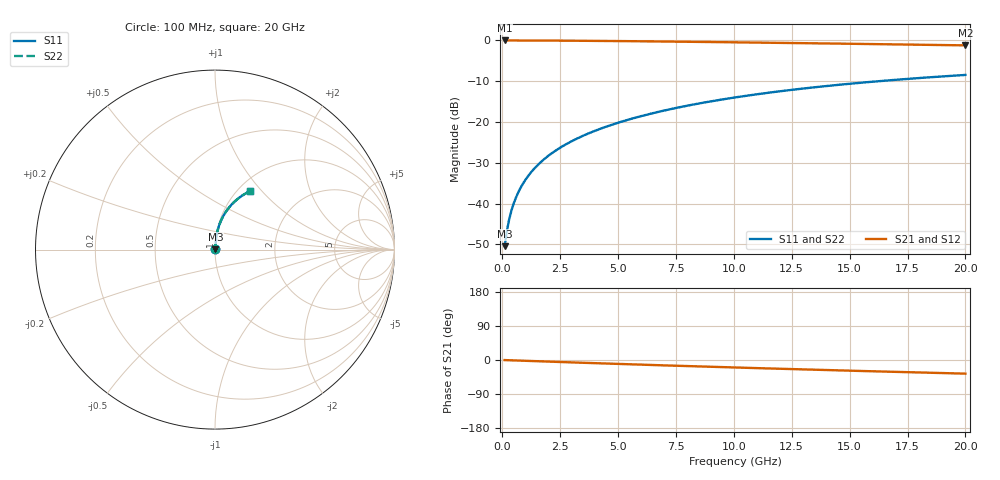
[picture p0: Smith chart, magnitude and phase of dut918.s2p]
! Touchstone file exported from HFSS 2024.1.0
!  File:  C:/UserFiles/LocalFiles/RDL_TSV_Batchsim/temp_RDL_top_918_1779936410.aedt
!  Generated:  10:49:52 AM May 28, 2026
!  Design:  RDL_top
!  Project:  temp_RDL_top_918_1779936410
!  Setup:  Setup1
!  Solution:  Sweep
! Variables:
!  dtsv = 10.80580581um
!  hbump = 3um
!  htsv = 77.58um
!  ldown = 100um
!  lrdl = 464.23um
!  p = 40
!  p1 = 55.85um
!  rhole = 1um
!  t = 450um
!  tdown = 3.915915916um
!  trdl = 4.18um
!  wdown = 15.38538539um
!  wrdl = 19.05um
# GHz S MA R 50.000000
! Terminal data exported
! Port[1] = Box2_T1
! Port[2] = Box2_T2
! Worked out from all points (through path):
!   200 points, 100 MHz to 20 GHz, reference 50 ohm
!   highest |S21| = -0.02 dB at 100 MHz (marker M1); lowest = -1.2 dB at 20 GHz (marker M2)
!   group delay of S21, straight-line fit = 4.97 ps
!   lowest |S11| = -50.4 dB at 100 MHz (marker M3), VSWR 1.01, Z = 50.2 + j0.206 ohm
!   |S11| at or under -10 dB: start of sweep to 16.25 GHz
!   |S22| runs from -50.4 to -8.5 dB; largest |S21 - S12| = 2.5e-15
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0.1  0.003016 42.8  0.9978 -0.2  0.9978 -0.2  0.003016 42.8
! Gamma 0 0 0 0
! Port Impedance 50 0 50 0
0.2  0.004666 60.4  0.9977 -0.4  0.9977 -0.4  0.004666 60.4
0.3  0.006484 68.2  0.9975 -0.7  0.9975 -0.7  0.006484 68.2
0.4  0.008336 72.5  0.9974 -0.9  0.9974 -0.9  0.008336 72.5
0.5  0.0102 75.2  0.9973 -1.1  0.9973 -1.1  0.0102 75.2
0.6  0.01207 77.2  0.9972 -1.3  0.9972 -1.3  0.01207 77.2
0.8  0.01583 79.7  0.9969 -1.7  0.9969 -1.7  0.01583 79.7
1.1  0.02152 81.8  0.9964 -2.4  0.9964 -2.4  0.02152 81.8
1.5  0.02917 83.2  0.9956 -3.2  0.9956 -3.2  0.02917 83.2
1.8  0.03494 83.7  0.9949 -3.8  0.9949 -3.8  0.03494 83.7
2.1  0.04074 84.0  0.9941 -4.5  0.9941 -4.5  0.04074 84.0
2.7  0.05241 84.2  0.992 -5.7  0.992 -5.7  0.05241 84.2
3.5  0.06812 83.9  0.9887 -7.4  0.9887 -7.4  0.06812 83.9
4.2  0.08201 83.4  0.9853 -8.8  0.9853 -8.8  0.08201 83.4
5  0.09801 82.7  0.9809 -10.4  0.9809 -10.4  0.09801 82.7
5.9  0.1162 81.6  0.9756 -12.1  0.9756 -12.1  0.1162 81.6
6.8  0.1344 80.5  0.9698 -13.8  0.9698 -13.8  0.1344 80.5
8.4  0.1668 78.1  0.9589 -16.8  0.9589 -16.8  0.1668 78.1
10.1  0.201 75.5  0.9467 -19.9  0.9467 -19.9  0.201 75.5
13.4  0.2649 70.0  0.9217 -25.5  0.9217 -25.5  0.2649 70.0
16.7  0.324 64.5  0.8955 -30.9  0.8955 -30.9  0.324 64.5
20  0.3773 59.3  0.8687 -36.0  0.8687 -36.0  0.3773 59.3
